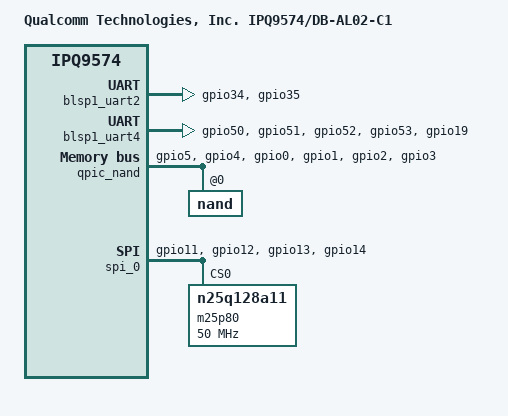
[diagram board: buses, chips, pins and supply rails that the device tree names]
// SPDX-License-Identifier: (GPL-2.0+ OR BSD-3-Clause)
/*
 * IPQ9574 DB-AL02-C1 board device tree source
 *
 * Copyright (c) 2020-2021 The Linux Foundation. All rights reserved.
 */

/dts-v1/;

#include "ipq9574.dtsi"
#ifdef __IPQ_MEM_PROFILE_512_MB__
#include "ipq9574-512MB-memory.dtsi"
#else
#include "ipq9574-default-memory.dtsi"
#endif
#include "ipq9574-cpu.dtsi"

/ {
	#address-cells = <0x2>;
	#size-cells = <0x2>;
	model = "Qualcomm Technologies, Inc. IPQ9574/DB-AL02-C1";
	compatible = "qcom,ipq9574-db-al02-c1", "qcom,ipq9574-db-al02", "qcom,ipq9574";
	interrupt-parent = <&intc>;

	aliases {
		serial0 = &blsp1_uart2;
		serial1 = &blsp1_uart4;
	};

	chosen {
		stdout-path = "serial0";
		bootargs-append = " clk_ignore_unused";
	};

	pmu {
		status = "disabled";
	};

	pmu-v7 {
		status = "disabled";
	};

	soc {
		prng@e3000 {
			status = "disabled";
		};

		crypto@73a000 {
			status = "disabled";
		};

		qcom,msm-imem@8600000 {
			status = "disabled";
		};

		dcc_v2@797F000 {
			status = "disabled";
		};

		pinctrl@1000000 {
			blsp1_uart2_pins: blsp1_uart2_pinmux {
				pins = "gpio34", "gpio35";
				function = "blsp2_uart";
				drive-strength = <8>;
				bias-disable;
			};

			qspi_nand_pins: qspi_nand_pins {
				qspi_clock {
					pins = "gpio5";
					function = "qspi_clk";
					drive-strength = <8>;
					bias-disable;
				};

				qspi_cs {
					pins = "gpio4";
					function = "qspi_cs";
					drive-strength = <8>;
					bias-disable;
				};

				qspi_data {
					pins = "gpio0", "gpio1", "gpio2", "gpio3";
					function = "qspi_data";
					drive-strength = <8>;
					bias-disable;
				};
			};

			mdio_pins: mdio_pinmux {
				mux_0 {
					pins = "gpio38";
					function = "mdc";
					drive-strength = <8>;
					bias-disable;
				};
				mux_1 {
					pins = "gpio39";
					function = "mdio";
					drive-strength = <8>;
					bias-pull-up;
				};
			};

			spi_0_pins: spi-0-pins {
				pins = "gpio11", "gpio12", "gpio13", "gpio14";
				function = "blsp0_spi";
				drive-strength = <8>;
				bias-disable;
			};

			ziggy_pins: ziggy_pins {
				blsp1_uart4_pinmux {
					pins = "gpio50", "gpio51", "gpio52", "gpio53";
					function = "blsp4_uart";
					drive-strength = <8>;
					bias-disable;
				};
				ziggy_reset {
					pins = "gpio19";
					function = "gpio";
					drive-strength = <8>;
					bias-pull-down;
				};
			};
		};

		blsp1_uart2: serial@78b1000 {
			pinctrl-0 = <&blsp1_uart2_pins>;
			pinctrl-names = "default";
			status = "ok";
		};

		blsp1_uart4: serial@78b3000 {
			pinctrl-0 = <&ziggy_pins>;
			pinctrl-names = "default";
			status = "ok";
		};

		qpic_bam: dma@7984000 {
			status = "ok";
		};

		qpic_nand: nand@79b0000 {
			status = "ok";
			pinctrl-0 = <&qspi_nand_pins>;
			pinctrl-names = "default";

			nand@0 {
				reg = <0>;
				#address-cells = <1>;
				#size-cells = <1>;

				nand-ecc-strength = <4>;
				nand-ecc-step-size = <512>;
				nand-bus-width = <8>;
			};
		};

		spi_0: spi@78b5000 { /* BLSP1 QUP0 */
			status = "ok";
			pinctrl-0 = <&spi_0_pins>;
			pinctrl-names = "default";
			cs-select = <0>;

			m25p80@0 {
				compatible = "n25q128a11";
				#address-cells = <1>;
				#size-cells = <1>;
				reg = <0>;
				spi-max-frequency = <50000000>;
			};
		};
	};
};
